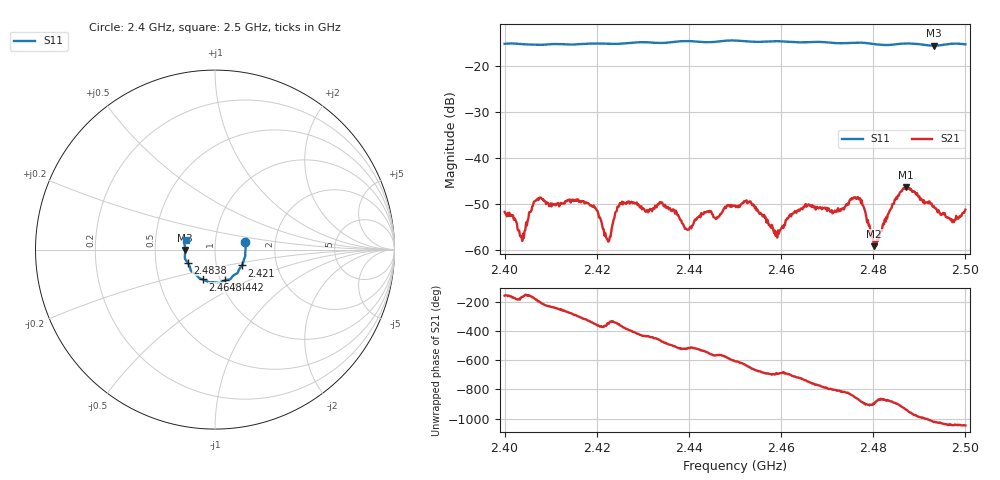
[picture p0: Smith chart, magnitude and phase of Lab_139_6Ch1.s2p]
# Hz S RI R 50
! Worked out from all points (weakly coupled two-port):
!   601 points, 2.4 GHz to 2.5 GHz, reference 50 ohm
!   highest |S21| = -46.32 dB at 2.4872 GHz (marker M1); lowest = -59.1 dB at 2.4802 GHz (marker M2)
!   lowest |S11| = -15.6 dB at 2.4932 GHz (marker M3), VSWR 1.40, Z = 35.8 - j0.0988 ohm
!   |S11| at or under -10 dB: start of sweep to end of sweep
!   S12 and S22 are empty: the file has one direction only
!   S11 on the Smith chart (normalised r, x): 2.4 GHz: 1.40, +0.12; 2.421 GHz: 1.33, -0.24; 2.4442 GHz: 1.05, -0.37; 2.4648 GHz: 0.83, -0.28; 2.4838 GHz: 0.73, -0.11; 2.5 GHz: 0.72, +0.08
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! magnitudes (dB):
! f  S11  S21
! 2.4 GHz  -15.2  -51.7
! 2.4038 GHz  -15.3  -58.0
! 2.4073 GHz  -15.4  -49.1
! 2.4167 GHz  -15.3  -49.3
! 2.421 GHz  -15.2  -53.8
! 2.4225 GHz  -15.2  -58.1
! 2.425 GHz  -15.2  -49.8
! 2.4333 GHz  -15.0  -49.9
! 2.4395 GHz  -14.6  -55.4
! 2.4442 GHz  -14.9  -51.6
! 2.45 GHz  -14.5  -50.2
! 2.4537 GHz  -14.8  -50.1
! 2.459 GHz  -14.7  -56.2
! 2.4648 GHz  -14.9  -50.6
! 2.4667 GHz  -14.8  -50.6
! 2.4767 GHz  -15.0  -48.4
! 2.4802 GHz  -15.3  -59.1
! 2.4833 GHz  -15.5  -52.0
! 2.4838 GHz  -15.4  -51.0
! 2.4872 GHz  -15.1  -46.3
! 2.4932 GHz  -15.6  -50.4
! 2.5 GHz  -15.3  -51.2
